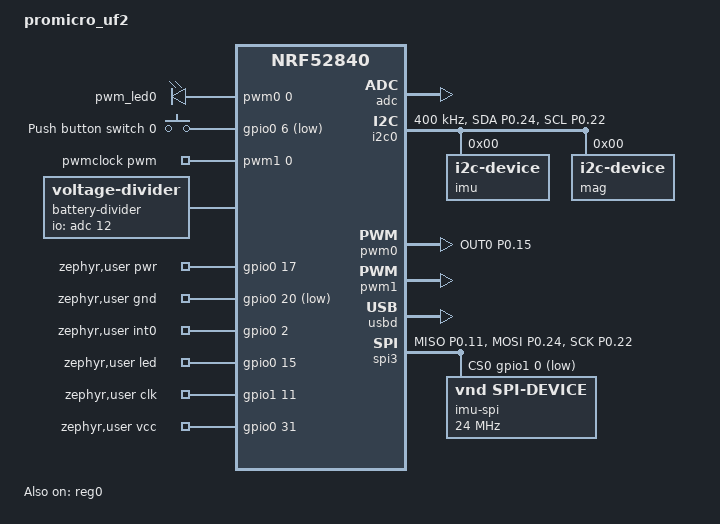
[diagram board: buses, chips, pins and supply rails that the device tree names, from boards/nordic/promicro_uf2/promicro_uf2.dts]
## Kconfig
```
#
# Copyright (c) 2023 Nordic Semiconductor
#
# SPDX-License-Identifier: LicenseRef-Nordic-5-Clause
#

config USE_SLIMENRF_CONSOLE
    bool "Use basic console"
    default y
    help
        Use basic console for commands.

config BATTERY_CHARGER_HAS_NTC
    bool "Battery thermistor"
    help
      Flag for battery NTC thermistor availability.

choice
    prompt "Battery voltage mapping"
    default BATTERY_NO_MAPPING

config BATTERY_USE_REG_BUCK_MAPPING
    bool "Use buck regulator mapping (3.7V battery, DCDC)"
    help
      Use a constant power mapping for battery voltage.
      Preffered for systems with a buck regulator.
      Measured at a system voltage of 3.0V.

config BATTERY_USE_REG_LDO_MAPPING
    bool "Use LDO linear regulator mapping (3.7V battery, LDO)"
    help
      Use a constant current mapping for battery voltage.
      Preferred for systems with a linear regulator.

config BATTERY_NO_MAPPING
    bool "Disable battery voltage mapping"
    help
      Always map to 100% battery. Disables battery monitoring.

endchoice

config BATTERY_LOW_RUNTIME_THRESHOLD
    int "Low battery runtime threshold (ms)"
    default 10800000
    help
      Trigger low battery when estimated runtime falls below threshold.
      If estimated runtime is not available, low battery will trigger under 10% estimated state of charge.

choice
    prompt "Status LED color mapping"
    default LED_TRI_COLOR

config LED_RGB_COLOR
    bool "Use RGB color mapping"
    help
        Use RGB or RG color mapping for LED status if available.

config LED_TRI_COLOR
    bool "Use default color mapping"
    help
        Use the default color mapping for LED status.

endchoice

menu "Status LED default status color"
    depends on LED_RGB_COLOR

config LED_DEFAULT_COLOR_R
    int "Red value"
    range 0 10000
    default 4000
    depends on LED_RGB_COLOR
    help
        Red color for default status.
        Valid range is 0 to 10000.

config LED_DEFAULT_COLOR_G
    int "Green value"
    range 0 10000
    default 6000
    depends on LED_RGB_COLOR
    help
        Green color for default status.
        Valid range is 0 to 10000.

config LED_DEFAULT_COLOR_B
    int "Blue value"
    range 0 10000
    default 0
    depends on LED_RGB_COLOR
    help
        Blue color for default status.
        Valid range is 0 to 10000.

endmenu

config USER_EXTRA_ACTIONS
    bool "Multiple press actions"
    help
        Allow user to use multiple presses to calibrate, pair, or enter DFU.
        By default, pairing is available when holding down sw0 for 5 seconds.
        By default, DFU is available when holding down sw0 and plugging in a USB cable.

config IGNORE_RESET
    bool "Ignore reset"
    default y
    help
        If sw0 is available, don't perform any extra actions on reset.

config USER_SHUTDOWN
    bool "User shutdown support"
    default y
    help
        Allow user to use reset or sw0 to shutdown.

config USE_IMU_WAKE_UP
    bool "IMU wake up support"
    default y
    help
        Use IMU wake up state if IMU wake up is present.

config DELAY_SLEEP_ON_STATUS
    bool "Delay IMU wake up mode on status flags"
    default y
    depends on USE_IMU_WAKE_UP
    help
        Delay IMU wake up state if there is an active status flag or in pairing mode.

config WOM_USE_DCDC
    bool "Use DCDC in IMU wake up mode"
    depends on USE_IMU_WAKE_UP
    help
        Use DCDC instead of LDO in IMU wake up state if it is more efficient.

config CONNECTION_TIMEOUT_DELAY
    int "Connection timeout delay (ms)"
    default 300000
    depends on USER_SHUTDOWN
    help
        Connection timeout duration when receiver is not detected.

menu "Sensor power saving"

config SENSOR_LP_TIMEOUT
    int "Sensor low power delay (ms)"
    default 500
    help
        Low power timeout during no motion.

config SENSOR_USE_LOW_POWER_2
    bool "Use additional low power modes"
    help
        Use a higher latency sensor mode during no motion.

config USE_IMU_TIMEOUT
    bool "Use IMU wake up state"
    default y
    depends on USE_IMU_WAKE_UP
    help
        Use IMU wake up state during no motion.

config IMU_TIMEOUT_RAMP_MIN
    int "Sensor timeout minimum delay (ms)"
    default 5000
    depends on USE_IMU_TIMEOUT || SENSOR_USE_LOW_POWER_2
    help
        Minimum timeout during no motion. Initial period on wake up.

config IMU_TIMEOUT_RAMP_MAX
    int "Sensor timeout maximum delay (ms)"
    default 15000
    depends on USE_IMU_TIMEOUT || SENSOR_USE_LOW_POWER_2
    help
        Maximum timeout during no motion.

config USE_ACTIVE_TIMEOUT
    bool "Use activity timeout"
    default y
    depends on USE_IMU_WAKE_UP || USER_SHUTDOWN
    help
        Delay IMU wake up state or user shutdown during activity.

choice
    prompt "Activity timeout mode"
    default SLEEP_ON_ACTIVE_TIMEOUT
    depends on USE_ACTIVE_TIMEOUT

config SLEEP_ON_ACTIVE_TIMEOUT
    bool "IMU wake up"
    depends on USE_IMU_WAKE_UP
    help
        Use IMU wake up state when activity timeout elapses.

config SHUTDOWN_ON_ACTIVE_TIMEOUT
    bool "User shutdown"
    depends on USER_SHUTDOWN
    help
        Use user shutdown when activity timeout elapses.

endchoice

config ACTIVE_TIMEOUT_THRESHOLD
    int "Activity timeout threshold (ms)"
    default 15000
    depends on USE_ACTIVE_TIMEOUT
    help
        Trigger activity timeout after a certain threshold of activity.

config ACTIVE_TIMEOUT_DELAY
    int "Activity timeout delay (ms)"
    default 900000
    depends on USE_ACTIVE_TIMEOUT
    help
        Activity timeout duration when triggered.

endmenu

config SENSOR_ACCEL_ODR
    int "Accelerometer output data rate (Hz)"
    default 100
    help
        Requested accelerometer output data rate. Actual rate will be raised to the nearest supported rate.
        A higher rate will increase the time to read and process sensor data.

config SENSOR_GYRO_ODR
    int "Gyrometer output data rate (Hz)"
    default 200
    help
        Requested gyrometer output data rate. Actual rate will be raised to the nearest supported rate.
        A higher rate will increase the time to read and process sensor data.
        A lower rate is recommended for IMUs with poor gyrometer rate noise density. (e.g. BMI270, LSM6DS3TR-C)

config SENSOR_ACCEL_FS
    int "Accelerometer full scale (g)"
    default 4
    help
        Requested accelerometer full scale. Actual scale will be raised to the nearest supported scale.
        A lower scale may improve noise performance, but is more likely to saturate.

config SENSOR_GYRO_FS
    int "Gyrometer full scale (dps)"
    default 1000
    help
        Requested gyrometer full scale. Actual scale will be raised to the nearest supported scale.
        A lower scale may improve noise performance, but is more likely to saturate.

config SENSOR_USE_MAG
    bool "Magnetometer support"
    default y
    help
        Use magnetometer if it is present.

config USE_SENSOR_CLOCK
    bool "Use external IMU clock"
    default y
    help
        Use external IMU clock if it is present.

choice
    prompt "Sensor fusion"
    default SENSOR_USE_VQF
    help
        Select the sensor fusion method.

config SENSOR_USE_XIOFUSION
    bool "Use x-io Technologies Fusion"
    help
        Use x-io Technologies Fusion for sensor fusion.
        Based on Madgwick filter.

config SENSOR_USE_VQF
    bool "Use VQF"
    help
        Use VQF for sensor fusion.
        Based on Kalman filter.

endchoice

config SENSOR_USE_6_SIDE_CALIBRATION
    bool "Use 6-side calibration"
    default y
    depends on USE_SLIMENRF_CONSOLE
    help
        Use 6-side calibration for accelerometer.
        Calibration can be completed through the basic console.

config SENSOR_USE_SENS_CALIBRATION
    bool "Use gyro sensitivity calibration"
    default y
    depends on USE_SLIMENRF_CONSOLE
    help
        Use sensitivity calibration for gyroscope.
        Calibration can be completed by rotating the tracker specified number of times around all axis.
        Note any resulting yaw drift in degrees and enter these three observed values in the basic console.

config SENSOR_SENS_REV
    int "Number of rotations (rev)"
    default 2
    depends on SENSOR_USE_SENS_CALIBRATION
    help
       Number of rotations used in calculating sensitivity calibration.

config SENSOR_USE_TCAL_MANUAL_POLYNOMIAL
    bool "Progressive Manual Polynomial Calibration"
    default y
    help
        Builds a polynomial temperature compensation curve incrementally.
        Each time the standard 'calibrate' command is run, a new (temp, bias)
        data point is added. The curve is automatically re-calculated
        and improves over time as more points are added at different
        temperatures.

menu "Polynomial Temperature Calibration Settings"
depends on SENSOR_USE_TCAL_MANUAL_POLYNOMIAL

config SENSOR_POLY_DEGREE
    int "Polynomial degree"
    default 3
    help
        The degree of the polynomial to fit (e.g., 3 for a cubic curve).

config SENSOR_POLY_TEMP_MIN
    int "Calibration minimum temperature (C)"
    default 15

config SENSOR_POLY_TEMP_MAX
    int "Calibration maximum temperature (C)"
    default 45

config SENSOR_POLY_STEPS_PER_DEGREE
    int "Calibration steps per degree C"
    default 2
    help
        Enter the number of calibration points to take per degree Celsius.
        For 0.5 C steps, enter 2.
        For 1.0 C steps, enter 1.

endmenu

config RADIO_TX_POWER
    int "Radio output power (dBm)"
    default 8
    help
        Radio output power level.
        A lower value may reduce power consumption.

config CONNECTION_OVER_HID
    bool "Use HID for data output"
    help
        Use HID if available.
        Otherwise, use ESB only.

source "Kconfig.zephyr"
```

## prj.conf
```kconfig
#CONFIG_NCS_SAMPLES_DEFAULTS
CONFIG_ASSERT=y
CONFIG_ASSERT_NO_COND_INFO=y
CONFIG_ASSERT_NO_MSG_INFO=y
CONFIG_RESET_ON_FATAL_ERROR=y

CONFIG_NCS_APPLICATION_BOOT_BANNER_STRING="SlimeVR-Tracker-nRF"
#CONFIG_NCS_BOOT_BANNER=n
CONFIG_BOOT_BANNER=n

CONFIG_ESB=y
#need to enable for nRF54L
#CONFIG_NRFX_DPPI10=y

CONFIG_ADC=y
CONFIG_ADC_NRFX_SAADC=y
CONFIG_FPU=y
CONFIG_I2C=y
CONFIG_SPI=y
CONFIG_PINCTRL=y

CONFIG_NVS=y
CONFIG_NVS_LOOKUP_CACHE=y
CONFIG_NVS_INIT_BAD_MEMORY_REGION=y

CONFIG_POWEROFF=y
CONFIG_REBOOT=y

CONFIG_FLASH=y
CONFIG_FLASH_PAGE_LAYOUT=y
CONFIG_FLASH_MAP=y

CONFIG_SETTINGS=y
CONFIG_SETTINGS_RUNTIME=y
CONFIG_SETTINGS_NONE=y

CONFIG_MPU_ALLOW_FLASH_WRITE=y

CONFIG_RETAINED_MEM=y

CONFIG_USE_SEGGER_RTT=y
CONFIG_LOG=y
#CONFIG_PRINTK=y
CONFIG_LOG_MODE_DEFERRED=y
CONFIG_LOG_SPEED=y
CONFIG_LOG_BACKEND_RTT=y
CONFIG_CBPRINTF_FP_SUPPORT=y
CONFIG_ADC_LOG_LEVEL_OFF=y
CONFIG_LOG_FUNC_NAME_PREFIX_ERR=y
CONFIG_LOG_BUFFER_SIZE=1536
CONFIG_LOG_BACKEND_UART_AUTOSTART=n
CONFIG_LOG_PROCESS_THREAD_SLEEP_MS=50
CONFIG_LOG_PROCESS_THREAD_STACK_SIZE=1024

CONFIG_PWM=y
CONFIG_GPIO=y

CONFIG_CRC=y

CONFIG_NEWLIB_LIBC=y
#deprecated?
#CONFIG_NRFX_TIMER1=y

#speed up boot? (use internal rc oscillator)
CONFIG_CLOCK_CONTROL_NRF_K32SRC_RC=y
CONFIG_CLOCK_CONTROL_NRF_K32SRC_RC_CALIBRATION=n
#speed up boot? (synthesize lf clock)
#CONFIG_CLOCK_CONTROL_NRF_K32SRC_SYNTH=y

# dont need it
CONFIG_CRYPTO=n

# set timeout for 25ms, sufficient for ~1000 bytes
CONFIG_I2C_NRFX_TRANSFER_TIMEOUT=25

CONFIG_USB_DEVICE_HID=y
CONFIG_USB_DEVICE_VID=0x1209
CONFIG_USB_DEVICE_PID=0x7692
CONFIG_USB_HID_BOOT_PROTOCOL=y
CONFIG_USB_DEVICE_INITIALIZE_AT_BOOT=n
CONFIG_USB_CDC_ACM=y
CONFIG_UART_INTERRUPT_DRIVEN=y
CONFIG_USB_WORKQUEUE_STACK_SIZE=512

CONFIG_SERIAL=y
CONFIG_CONSOLE=y
CONFIG_RTT_CONSOLE=y
CONFIG_UART_CONSOLE=y
CONFIG_UART_LINE_CTRL=y
# fit "write all <base64:173>"
CONFIG_CONSOLE_INPUT_MAX_LINE_LEN=256

CONFIG_LOG=y
CONFIG_USB_DRIVER_LOG_LEVEL_ERR=y
CONFIG_USB_DEVICE_LOG_LEVEL_ERR=y
CONFIG_USB_CDC_ACM_LOG_LEVEL_OFF=y

CONFIG_LOG_BACKEND_UART=y

CONFIG_CONSOLE_SUBSYS=y
CONFIG_CONSOLE_GETLINE=y

CONFIG_NVS_LOG_LEVEL_WRN=y
CONFIG_USB_HID_LOG_LEVEL_WRN=y

CONFIG_USB_DEVICE_SOF=y
CONFIG_USB_HID_REPORTS=256

#CONFIG_USB_HID_POLL_INTERVAL_MS=1
CONFIG_USB_HID_POLL_INTERVAL_MS=0
CONFIG_HID_INTERRUPT_EP_MPS=64
#CONFIG_ENABLE_HID_INT_OUT_EP=y

CONFIG_SYSTEM_WORKQUEUE_STACK_SIZE=256
CONFIG_MAIN_STACK_SIZE=512
#crashing on nrf54l at 512

CONFIG_THREAD_NAME=y

# TODO: because of icm426, this will break things and needs to be raised to at least 3k
CONFIG_HEAP_MEM_POOL_SIZE=2048
CONFIG_ISR_STACK_SIZE=1024

CONFIG_PM_DEVICE=y

CONFIG_BASE64=y
CONFIG_USER_EXTRA_ACTIONS=y

CONFIG_IGNORE_RESET=n
CONFIG_USE_IMU_WAKE_UP=n
#CONFIG_THREAD_ANALYZER=y
#CONFIG_THREAD_ANALYZER_AUTO=y
#CONFIG_THREAD_ANALYZER_AUTO_INTERVAL=5
```

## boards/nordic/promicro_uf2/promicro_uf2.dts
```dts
// Copyright (c) 2024 Nordic Semiconductor ASA
// SPDX-License-Identifier: Apache-2.0

/dts-v1/;
#include <nordic/nrf52840_qiaa.dtsi>

//move to dtsi?
&pinctrl {
	i2c0_default: i2c0_default {
		group1 {
			psels = <NRF_PSEL(TWIM_SDA, 0, 24)>, <NRF_PSEL(TWIM_SCL, 0, 22)>;
			bias-disable;
		};
	};

	i2c0_sleep: i2c0_sleep {
		group1 {
			psels = <NRF_PSEL(TWIM_SDA, 0, 24)>, <NRF_PSEL(TWIM_SCL, 0, 22)>;
			bias-disable;
			low-power-enable;
		};
	};

	pwm0_default: pwm0_default {
		group1 {
			psels = <NRF_PSEL(PWM_OUT0, 0, 15)>;
			nordic,drive-mode = <NRF_DRIVE_D0S1>;
		};
	};

	pwm0_sleep: pwm0_sleep {
		group1 {
			psels = <NRF_PSEL(PWM_OUT0, 0, 15)>;
			low-power-enable;
		};
	};

	pwm1_default: pwm1_default {
		group1 {
			psels = <NRF_PIN_DISCONNECTED>;
		};
	};

	pwm1_sleep: pwm1_sleep {
		group1 {
			psels = <NRF_PIN_DISCONNECTED>;
			low-power-enable;
		};
	};

	spi3_default: spi3_default {
		group1 {
			psels = <NRF_PSEL(SPIM_MISO, 0, 11)>,
					<NRF_PSEL(SPIM_MOSI, 0, 24)>,
					<NRF_PSEL(SPIM_SCK, 0, 22)>;
		};
	};

	spi3_sleep: spi3_sleep {
		group1 {
			psels = <NRF_PSEL(SPIM_MISO, 0, 11)>,
					<NRF_PSEL(SPIM_MOSI, 0, 24)>,
					<NRF_PSEL(SPIM_SCK, 0, 22)>;
			low-power-enable;
		};
	};
};
//end

/ {
	model = "promicro_uf2";
	compatible = "promicro_uf2";

	chosen {
		zephyr,sram = &sram0;
		zephyr,flash = &flash0;
		zephyr,console = &cdc_acm_uart0;
		zephyr,shell-uart = &cdc_acm_uart0;
	};

	pwmleds {
		compatible = "pwm-leds";
		pwm_led0: pwm_led_0 {
			pwms = <&pwm0 0 PWM_MSEC(1) PWM_POLARITY_NORMAL>;
		};
	};

	buttons {
		compatible = "gpio-keys";
		button0: button_0 {
			gpios = <&gpio0 6 (GPIO_PULL_UP | GPIO_ACTIVE_LOW)>;
			label = "Push button switch 0";
		};
	};

	aliases {
		sw0 = &button0; // Uncomment to Enable SW0
		pwm-led0 = &pwm_led0;
	};

	pwmclock: pwmclock {
		compatible = "pwm-clock";
		#clock-cells = <1>;
		pwms = <&pwm1 0 PWM_HZ(32768) PWM_POLARITY_NORMAL>;
	};

	battery-divider {
		compatible = "voltage-divider";
		status = "okay";
		io-channels = <&adc 12>; // Measure VDDHDIV5
		output-ohms = <1>;
		full-ohms = <5>;
	};

	zephyr,user {
		pwr-gpios = <&gpio0 17 GPIO_OPEN_SOURCE>;
        gnd-gpios = <&gpio0 20 (GPIO_ACTIVE_LOW | GPIO_OPEN_DRAIN)>;
		int0-gpios = <&gpio0 2 0>;
		led-gpios = <&gpio0 15 GPIO_OPEN_SOURCE>;
		clk-gpios = <&gpio1 11 GPIO_OPEN_DRAIN>; // Uncomment and set to correct pin if using an external clock (crystal oscillator)
		vcc-gpios = <&gpio0 31 0>;
	};

};

&reg0 {
	status = "okay";
};

&reg1 {
	regulator-initial-mode = <NRF5X_REG_MODE_DCDC>;
};

&adc {
	status = "okay";
};

&gpiote {
	status = "okay";
};

&gpio0 {
	status = "okay";
};

&gpio1 {
	status = "okay";
};

&i2c0 {
	compatible = "nordic,nrf-twim";
	status = "okay";
	zephyr,concat-buf-size = <1023>;
	zephyr,flash-buf-max-size = <1023>;
	clock-frequency = <I2C_BITRATE_FAST>;
	pinctrl-0 = <&i2c0_default>;
	pinctrl-1 = <&i2c0_sleep>;
	pinctrl-names = "default", "sleep";

	imu: imu@0 { // any address out of range (00, 7f, etc. will search all addresses and stored address first if available, specify an address here to search first otherwise
		compatible = "i2c-device";
		label = "imu";
		reg = <0>;
	};

	mag: mag@0 {
		compatible = "i2c-device";
		label = "mag";
		reg = <0>;
	};

};

&pwm0 {
	status = "okay";
	pinctrl-0 = <&pwm0_default>;
	pinctrl-1 = <&pwm0_sleep>;
	pinctrl-names = "default", "sleep";
};

&pwm1 {
	status = "okay";
	pinctrl-0 = <&pwm1_default>;
	pinctrl-1 = <&pwm1_sleep>;
	pinctrl-names = "default", "sleep";
};

zephyr_udc0: &usbd {
	compatible = "nordic,nrf-usbd";
	status = "okay";
	cdc_acm_uart0: cdc_acm_uart0 {
		compatible = "zephyr,cdc-acm-uart";
	};
};

&cryptocell {
	status = "disabled";
};

&nfct {
	status = "disabled";
};

&spi3 {
	compatible = "nordic,nrf-spim";
	status = "okay";
	max-frequency = <DT_FREQ_M(24)>;
	pinctrl-0 = <&spi3_default>;
	pinctrl-1 = <&spi3_sleep>;
	pinctrl-names = "default", "sleep";
	cs-gpios = <&gpio1 0 GPIO_ACTIVE_LOW>;

	imu_spi: imu_spi@0 {
		compatible = "vnd,spi-device";
		spi-max-frequency = <DT_FREQ_M(24)>;
		label = "imu-spi";
		reg = <0>;
	};
};
```

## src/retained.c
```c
/*
 * Copyright (c) 2021 Nordic Semiconductor ASA
 *
 * SPDX-License-Identifier: Apache-2.0
 */

#include "retained.h"

#include <stdint.h>
#include <string.h>

#include <zephyr/kernel.h>
#include <zephyr/devicetree.h>
#include <zephyr/drivers/retained_mem.h>
#include <zephyr/sys/byteorder.h>
#include <zephyr/sys/crc.h>

#include "build_defines.h"

#if DT_NODE_HAS_STATUS_OKAY(DT_ALIAS(retainedmemdevice))
#define MEMORY_REGION DT_PARENT(DT_ALIAS(retainedmemdevice))
#else
#error "retained_mem region not defined"
#endif

struct retained_data *retained = (struct retained_data *)DT_REG_ADDR(MEMORY_REGION);

#define RETAINED_CRC_OFFSET offsetof(struct retained_data, crc)
#define RETAINED_CHECKED_SIZE (RETAINED_CRC_OFFSET + sizeof(retained->crc))

static uint64_t init_time;

static int retained_init(void)
{
	init_time = k_uptime_ticks(); // Get current uptime in ticks as soon as possible
	return 0;
}

// TODO: priority?
SYS_INIT(retained_init, APPLICATION, CONFIG_APPLICATION_INIT_PRIORITY);

bool retained_validate(void)
{
	NRF_STATIC_ASSERT((RETAINED_CHECKED_SIZE <= 4096), "Retained data size exceeds 4 KB limit");

	uint64_t now = init_time;
//	uint64_t now = k_uptime_ticks(); // Get current uptime in ticks as soon as possible

	/* The residue of a CRC is what you get from the CRC over the
	 * message catenated with its CRC.  This is the post-final-xor
	 * residue for CRC-32 (CRC-32/ISO-HDLC) which Zephyr calls
	 * crc32_ieee.
	 */
	const uint32_t residue = 0x2144df1c;
	uint32_t crc = crc32_ieee((const uint8_t *)retained,
				  RETAINED_CHECKED_SIZE);
	bool valid = (crc == residue);

	/* Check the build timestamp of the firmware that last updated
	 * the retained data.
	 */
	valid &= (retained->build_timestamp == BUILD_TIMESTAMP);

	/* If the CRC isn't valid or the build timestamp is different
	 * from the current build timestamp, reset the retained data.
	 */
	if (!valid) {
		memset(retained, 0, sizeof(struct retained_data));
		retained->build_timestamp = BUILD_TIMESTAMP;
#if CONFIG_SENSOR_USE_SENS_CALIBRATION
		retained->gyroSensScale[0] = 1.0f;
		retained->gyroSensScale[1] = 1.0f;
		retained->gyroSensScale[2] = 1.0f;
#endif
	}

	/* Reset to accrue runtime from this session. */
	retained->uptime_latest = now;
	retained->battery_uptime_latest = now;

	return valid;
}

void retained_update(void)
{
	uint64_t now = k_uptime_ticks();

	retained->uptime_sum += (now - retained->uptime_latest);
	retained->uptime_latest = now;

	uint32_t crc = crc32_ieee((const uint8_t *)retained,
				  RETAINED_CRC_OFFSET);

	retained->crc = sys_cpu_to_le32(crc);
}
```

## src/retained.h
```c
/*
 * Copyright (c) 2021 Nordic Semiconductor ASA
 *
 * SPDX-License-Identifier: Apache-2.0
 */

#ifndef RETAINED_H_
#define RETAINED_H_

#include <stdbool.h>
#include <stdint.h>

#if CONFIG_SENSOR_USE_TCAL_MANUAL_POLYNOMIAL
// A single point in temperature calibration data
struct TempCalPoint {
    float temp; // The temperature for this point
    float bias[3]; // The gyro bias (x, y, z)
};
#endif

struct retained_data {
	/* The build version of the firmware that last updated the
	 * retained data.
	 */
	uint32_t build_timestamp;

	/* The uptime from the current session the last time the
	 * retained data was updated.
	 */
	uint64_t uptime_latest;

	/* Cumulative uptime from all previous sessions up through
	 * uptime_latest of this session.
	 */
	uint64_t uptime_sum;

	/* Battery statistics.  Tracking for discharge curve only begins
	 * after ~3% discharged.  If battery_pptt has changed significantly
	 * compared to min_battery_pptt since the last update,
	 * the statistics are cleared and may be saved to NVS.
	 */
	int16_t max_battery_pptt;
	int16_t min_battery_pptt;

	/* Battery uptime from last retained update */
	uint64_t battery_uptime_latest;

	/* Cumulative runtime */
	uint64_t battery_runtime_sum;

	/* Last interval stored in NVS */
	int16_t battery_pptt_saved;
	uint64_t battery_runtime_saved;

	/* Calibrated discharge curve */
	int16_t battery_pptt_curve[18];

	uint8_t reboot_counter;
	uint8_t paired_addr[8];

	uint8_t sensor_data[128];

	float accelBias[3];
	float gyroBias[3];
	float magBias[3];
	float magBAinv[4][3];
	float accBAinv[4][3];
#if CONFIG_SENSOR_USE_SENS_CALIBRATION
	float gyroSensScale[3]; // Gyro sensitivity
#endif
#if CONFIG_SENSOR_USE_TCAL_MANUAL_POLYNOMIAL
	float gyroTemp;         

    #define TCAL_BUFFER_SIZE (int)((CONFIG_SENSOR_POLY_TEMP_MAX - CONFIG_SENSOR_POLY_TEMP_MIN) * CONFIG_SENSOR_POLY_STEPS_PER_DEGREE)
    struct TempCalPoint tempCalPoints[TCAL_BUFFER_SIZE];
    float tempCalCoeffs[3][CONFIG_SENSOR_POLY_DEGREE + 1];
	float tempCalCorrectionOffset[3];
    struct {
        uint16_t count;
        bool valid;
        uint8_t degree;
    } tempCalState;
#endif

	uint8_t fusion_id; // fusion_data_stored
	uint8_t fusion_data[512];

	uint16_t imu_addr;
	uint16_t mag_addr;

	uint8_t imu_reg;
	uint8_t mag_reg;

	uint8_t settings[128];

	/* CRC used to validate the retained data.  This must be
	 * stored little-endian, and covers everything up to but not
	 * including this field.
	 */
	uint32_t crc;
};

/* Up to 1 KB of retained data allowed right now.
 */
#define RETAINED_SIZE (sizeof(struct retained_data))

/* For simplicity in the sample just allow anybody to see and
 * manipulate the retained state.
 */
extern struct retained_data *retained;

/* Check whether the retained data is valid, and if not reset it.
 *
 * @return true if and only if the data was valid and reflects state
 * from previous sessions.
 */
bool retained_validate(void);

/* Update any generic retained state and recalculate its checksum so
 * subsequent boots can verify the retained state.
 */
void retained_update(void);

#endif /* RETAINED_H_ */
```
